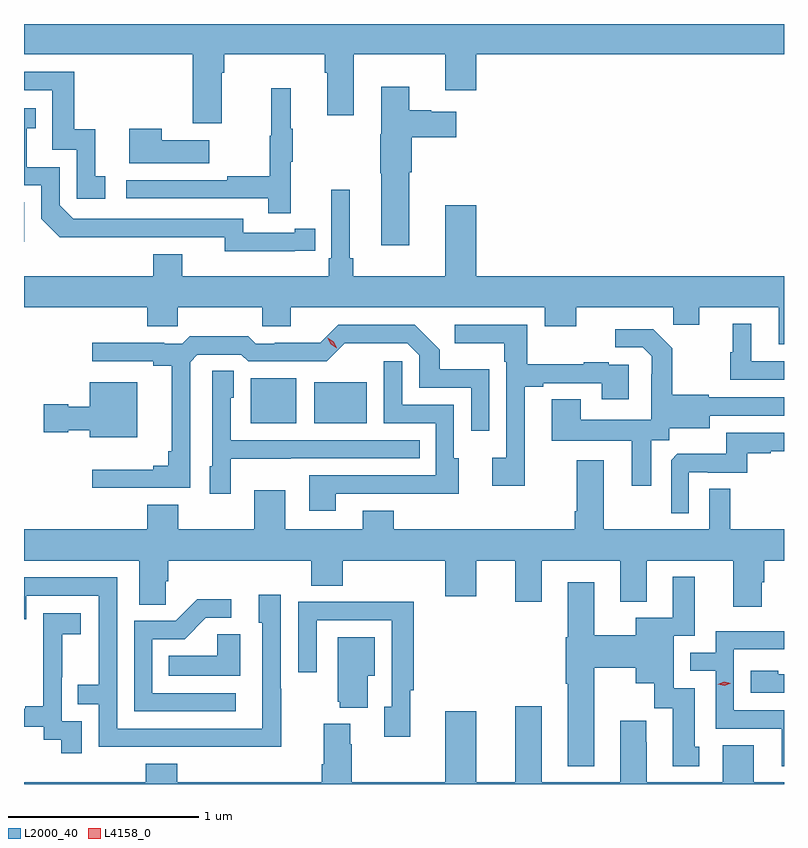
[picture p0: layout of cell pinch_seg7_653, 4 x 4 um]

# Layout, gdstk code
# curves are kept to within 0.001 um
import gdstk
lib = gdstk.Library(unit=1e-6, precision=1e-09)
def R(c, l, rs):  # rectangles x0, y0, x1, y1
    for r in rs: c.add(gdstk.rectangle(r[:2], r[2:], *l))
def P(c, l, *ps):  # polygons
    for p in ps: c.add(gdstk.Polygon(p, *l))
L2000_40 = (2000, 40)
L4158_0 = (4158, 0)

pinch_seg7_653 = lib.new_cell('pinch_seg7_653')
R(pinch_seg7_653, L2000_40, [(211.937,1033.307,212.176,1033.543), (212.27,1033.307,212.548,1033.522), (210.743,1034.262,210.744,1034.469)])
P(pinch_seg7_653, L2000_40, [(211.783,1035.152),(211.796,1035.152),(211.796,1035.248),(212.327,1035.248),(212.327,1035.152),(212.339,1035.152),(212.339,1034.928),(212.479,1034.928),(212.479,1035.248),(212.96,1035.248),(212.96,1035.06),(213.124,1035.06),(213.124,1035.248),(214.743,1035.248),(214.743,1035.408),(210.743,1035.408),(210.743,1035.248),(211.631,1035.248),(211.631,1034.886),(211.783,1034.886)],
  [(211.171,1034.607),(211.118,1034.607),(211.118,1034.853),(211.007,1034.853),(211.007,1035.156),(210.743,1035.156),(210.743,1035.06),(210.891,1035.06),(210.891,1034.745),(211.02,1034.745),(211.02,1034.487),(211.171,1034.487)],
  [(212.77,1034.629),(212.783,1034.629),(212.783,1034.813),(213.019,1034.813),(213.019,1034.947),(212.886,1034.947),(212.886,1034.955),(212.77,1034.955),(212.77,1035.079),(212.624,1035.079),(212.624,1034.829),(212.617,1034.829),(212.617,1034.623),(212.624,1034.623),(212.624,1034.244),(212.77,1034.244)],
  [(212.147,1034.683),(212.158,1034.683),(212.158,1034.857),(212.147,1034.857),(212.147,1035.07),(212.044,1035.07),(212.044,1034.82),(212.037,1034.82),(212.037,1034.606),(211.813,1034.606),(211.813,1034.586),(211.281,1034.586),(211.281,1034.49),(212.029,1034.49),(212.029,1034.412),(212.147,1034.412)],
  [(212.168,1034.214),(212.276,1034.214),(212.276,1034.33),(212.168,1034.33),(212.168,1034.31),(211.896,1034.31),(211.896,1034.382),(211.002,1034.382),(210.93,1034.454),(210.93,1034.655),(210.757,1034.655),(210.757,1034.859),(210.806,1034.859),(210.806,1034.965),(210.743,1034.965),(210.743,1034.559),(210.834,1034.559),(210.834,1034.382),(210.932,1034.285),(211.8,1034.286),(211.8,1034.213)],
  [(211.717,1034.797),(211.469,1034.797),(211.469,1034.857),(211.298,1034.857),(211.298,1034.675),(211.717,1034.675)],
  [(214.743,1034.08),(213.124,1034.08),(213.124,1034.455),(212.96,1034.455),(212.96,1034.08),(212.477,1034.08),(212.477,1034.176),(212.458,1034.176),(212.458,1034.536),(212.361,1034.536),(212.361,1034.176),(212.348,1034.176),(212.348,1034.08),(211.576,1034.08),(211.576,1034.197),(211.424,1034.197),(211.424,1034.08),(210.743,1034.08),(210.743,1033.916),(211.391,1033.916),(211.391,1033.818),(211.551,1033.818),(211.551,1033.916),(211.996,1033.916),(211.996,1033.818),(212.146,1033.818),(212.146,1033.916),(213.485,1033.916),(213.485,1033.817),(213.649,1033.817),(213.649,1033.916),(214.159,1033.916),(214.159,1033.826),(214.297,1033.826),(214.297,1033.916),(214.715,1033.916),(214.715,1033.722),(214.743,1033.722)],
  [(214.743,1033.632),(214.57,1033.632),(214.57,1033.831),(214.472,1033.831),(214.472,1033.68),(214.461,1033.68),(214.461,1033.536),(214.743,1033.536)],
  [(213.379,1033.5),(213.475,1033.5),(213.475,1033.518),(213.785,1033.518),(213.785,1033.434),(213.925,1033.434),(213.925,1033.614),(213.821,1033.614),(213.821,1033.627),(213.689,1033.627),(213.689,1033.616),(213.391,1033.616),(213.391,1033.824),(213.009,1033.824),(213.009,1033.727),(213.27,1033.727),(213.27,1033.631),(213.282,1033.631),(213.282,1033.126),(213.207,1033.126),(213.207,1032.978),(213.379,1032.978)],
  [(211.617,1033.629),(211.656,1033.668),(211.887,1033.668),(211.923,1033.632),(212.337,1033.632),(212.432,1033.727),(212.76,1033.728),(212.823,1033.665),(212.823,1033.494),(213.096,1033.494),(213.096,1033.266),(213.192,1033.266),(213.192,1033.591),(212.931,1033.591),(212.931,1033.694),(212.8,1033.824),(212.397,1033.824),(212.303,1033.73),(212.062,1033.73),(212.062,1033.725),(211.962,1033.725),(211.923,1033.765),(211.615,1033.765),(211.575,1033.725),(211.481,1033.725),(211.481,1033.73),(211.101,1033.73),(211.101,1033.632),(211.424,1033.632),(211.424,1033.61),(211.52,1033.61),(211.52,1033.159),(211.501,1033.159),(211.501,1033.082),(211.424,1033.082),(211.424,1033.063),(211.101,1033.063),(211.101,1032.966),(211.617,1032.966)],
  [(214.045,1033.216),(214.14,1033.216),(214.14,1033.28),(214.351,1033.28),(214.351,1033.347),(214.743,1033.347),(214.743,1033.443),(214.347,1033.443),(214.347,1033.456),(214.155,1033.456),(214.155,1033.701),(214.055,1033.801),(213.855,1033.801),(213.855,1033.707),(213.999,1033.707),(214.046,1033.66),(214.046,1033.565),(214.044,1033.565),(214.044,1033.324),(213.673,1033.324),(213.673,1033.433),(213.521,1033.433),(213.521,1033.214),(213.941,1033.214),(213.941,1032.978),(214.045,1032.978)],
  [(212.383,1032.936),(212.813,1032.936),(212.813,1032.935),(213.031,1032.935),(213.031,1033.122),(213.006,1033.122),(213.006,1033.404),(212.733,1033.404),(212.733,1033.632),(212.637,1033.632),(212.637,1033.308),(212.91,1033.308),(212.91,1033.032),(212.243,1033.032),(212.243,1032.846),(212.383,1032.846)],
  [(211.83,1033.121),(212.147,1033.121),(212.147,1033.122),(212.825,1033.122),(212.825,1033.218),(211.83,1033.218),(211.83,1033.44),(211.846,1033.44),(211.846,1033.583),(211.734,1033.583),(211.734,1033.08),(211.721,1033.08),(211.721,1032.936),(211.83,1032.936)],
  [(211.339,1033.522),(211.088,1033.522),(211.088,1033.393),(210.975,1033.393),(210.975,1033.406),(210.846,1033.406),(210.846,1033.259),(210.975,1033.259),(210.975,1033.271),(211.088,1033.271),(211.088,1033.232),(211.339,1033.232)],
  [(214.242,1033.05),(214.342,1033.05),(214.342,1033.047),(214.55,1033.047),(214.55,1033.149),(214.673,1033.149),(214.673,1033.16),(214.743,1033.16),(214.743,1033.257),(214.44,1033.257),(214.44,1033.145),(214.181,1033.145),(214.149,1033.113),(214.149,1032.833),(214.242,1032.833)],
  [(214.627,1032.471),(214.64,1032.471),(214.64,1032.584),(214.743,1032.584),(214.743,1032.748),(214.459,1032.748),(214.459,1032.962),(214.35,1032.962),(214.35,1032.748),(213.793,1032.748),(213.793,1033.111),(213.653,1033.111),(213.653,1032.844),(213.641,1032.844),(213.641,1032.748),(212.689,1032.748),(212.689,1032.847),(212.525,1032.847),(212.525,1032.748),(212.119,1032.748),(212.119,1032.955),(211.955,1032.955),(211.955,1032.748),(211.555,1032.748),(211.555,1032.877),(211.391,1032.877),(211.391,1032.748),(210.743,1032.748),(210.743,1032.584),(211.349,1032.584),(211.349,1032.352),(211.488,1032.352),(211.488,1032.475),(211.502,1032.475),(211.502,1032.584),(212.255,1032.584),(212.255,1032.451),(212.42,1032.451),(212.42,1032.584),(212.96,1032.584),(212.96,1032.396),(213.124,1032.396),(213.124,1032.584),(213.329,1032.584),(213.329,1032.366),(213.469,1032.366),(213.469,1032.584),(213.881,1032.584),(213.881,1032.368),(214.021,1032.368),(214.021,1032.584),(214.475,1032.584),(214.475,1032.342),(214.627,1032.342)],
  [(213.745,1032.02),(213.962,1032.02),(213.962,1031.939),(214.061,1031.939),(214.061,1031.808),(214.157,1031.808),(214.157,1031.502),(214.297,1031.502),(214.297,1031.604),(214.273,1031.604),(214.273,1031.913),(214.164,1031.913),(214.164,1032.189),(214.273,1032.189),(214.273,1032.499),(214.157,1032.499),(214.157,1032.283),(213.962,1032.283),(213.962,1032.192),(213.745,1032.192),(213.745,1032.469),(213.605,1032.469),(213.605,1032.18),(213.593,1032.18),(213.593,1031.936),(213.605,1031.936),(213.605,1031.501),(213.745,1031.501)],
  [(212.097,1031.909),(212.094,1031.909),(212.094,1032.403),(211.979,1032.403),(211.979,1032.258),(211.998,1032.258),(211.998,1031.7),(211.233,1031.7),(211.233,1032.495),(210.743,1032.495),(210.743,1032.276),(210.756,1032.276),(210.756,1032.399),(211.137,1032.399),(211.137,1031.93),(211.027,1031.93),(211.027,1031.829),(211.137,1031.829),(211.137,1031.604),(211.633,1031.604),(211.633,1031.603),(212.097,1031.603)],
  [(211.858,1031.886),(211.419,1031.886),(211.419,1032.171),(211.588,1032.171),(211.699,1032.282),(211.834,1032.282),(211.834,1032.38),(211.655,1032.38),(211.542,1032.267),(211.323,1032.267),(211.323,1031.79),(211.858,1031.79)],
  [(212.777,1031.902),(212.795,1031.902),(212.795,1032.368),(212.503,1032.368),(212.503,1032.366),(212.187,1032.366),(212.187,1031.997),(212.283,1031.997),(212.283,1032.27),(212.679,1032.27),(212.679,1031.814),(212.639,1031.814),(212.639,1031.658),(212.777,1031.658)],
  [(211.047,1031.739),(210.942,1031.739),(210.942,1031.969),(210.944,1031.969),(210.944,1032.197),(211.042,1032.197),(211.042,1032.307),(210.844,1032.307),(210.844,1032.101),(210.845,1032.101),(210.845,1031.818),(210.749,1031.818),(210.749,1031.805),(210.743,1031.805),(210.743,1031.709),(210.846,1031.709),(210.846,1031.641),(210.939,1031.641),(210.939,1031.571),(211.047,1031.571)],
  [(214.743,1031.796),(214.479,1031.796),(214.479,1032.117),(214.743,1032.117),(214.743,1032.213),(214.383,1032.213),(214.383,1032.099),(214.25,1032.099),(214.25,1032.003),(214.383,1032.003),(214.383,1031.7),(214.73,1031.7),(214.73,1031.501),(214.743,1031.501)],
  [(211.882,1032.197),(211.761,1032.197),(211.761,1032.082),(211.504,1032.082),(211.504,1031.978),(211.882,1031.978)],
  [(212.551,1031.978),(212.59,1031.978),(212.59,1032.181),(212.393,1032.181),(212.393,1031.841),(212.405,1031.841),(212.405,1031.81),(212.551,1031.81)],
  [(214.743,1031.986),(214.713,1031.986),(214.713,1032.004),(214.569,1032.004),(214.569,1031.889),(214.743,1031.889)],
  [(214.743,1031.416),(214.585,1031.416),(214.585,1031.611),(214.421,1031.611),(214.421,1031.416),(214.021,1031.416),(214.021,1031.627),(214.018,1031.627),(214.018,1031.74),(213.881,1031.74),(213.881,1031.416),(213.469,1031.416),(213.469,1031.818),(213.329,1031.818),(213.329,1031.416),(213.124,1031.416),(213.124,1031.791),(212.96,1031.791),(212.96,1031.416),(212.469,1031.416),(212.469,1031.618),(212.461,1031.618),(212.461,1031.725),(212.321,1031.725),(212.321,1031.512),(212.309,1031.512),(212.309,1031.416),(211.55,1031.416),(211.55,1031.515),(211.385,1031.515),(211.385,1031.416),(210.743,1031.416),(210.743,1031.408),(214.743,1031.408)])
P(pinch_seg7_653, L4158_0, [(214.43,1031.925),(214.394,1031.932),(214.394,1031.932),(214.394,1031.933),(214.428,1031.945),(214.463,1031.937),(214.463,1031.937),(214.463,1031.937)],
  [(212.389,1033.701),(212.358,1033.722),(212.342,1033.755),(212.342,1033.756),(212.342,1033.756),(212.373,1033.735),(212.389,1033.701),(212.389,1033.701)])

lib.write_gds('pinch_seg7_653.gds')
